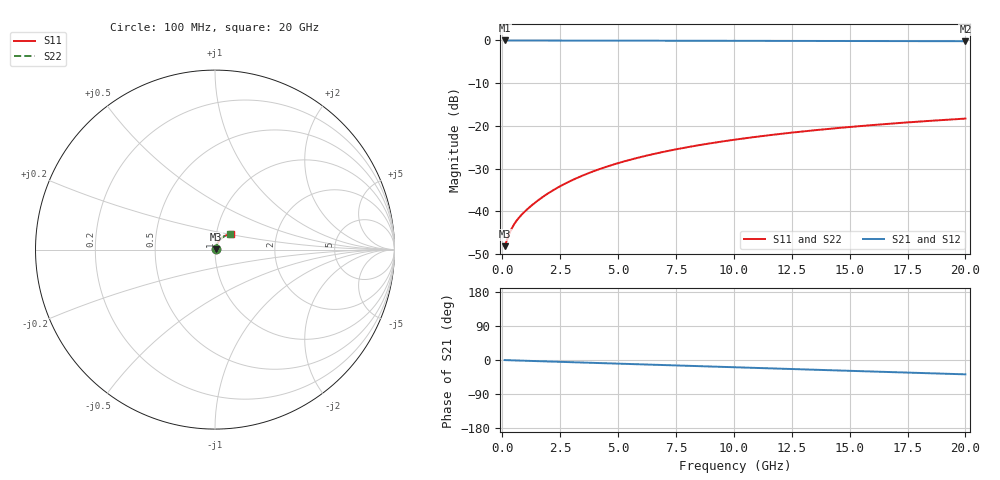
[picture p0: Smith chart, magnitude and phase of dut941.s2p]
! Touchstone file exported from HFSS 2026.1.0
!  File:  C:/ffzhzh/LocalFiles/Ansys_Project_Files/temp_train_BSMRDL_941_1783172096_55132.aedt
!  Generated:  09:36:07 PM Jul  4, 2026
!  Design:  BSMRDL
!  Project:  temp_train_BSMRDL_941_1783172096_55132
! Variables:
!  h_bsmrdl = 2.74um
!  h_ox = 20um
!  h_rdl = 5um
!  h_sub = 80um
!  h_tmrdl = 5um
!  h_tsv = 80um
!  h_via = 3um
!  l_bsmrdl = 652.6um
!  l_sub = 1052.6um
!  l_tmrdl = 200um
!  m_sub = 200um
!  pitch = 31.4um
!  r_tsv = 6um
!  s_tmrdl = 10um
!  w_bsmrdl = 24.7um
!  w_sub = 500um
!  w_tmrdl = 12um
!  x_tsv_center1 = 206um
!  x_tsv_center2 = 883.3um
!  x_tsv_center3 = 1095.3um
!  x_tsv_center4 = 1772.6um
!  x_tsv_center5 = 1984.6um
!  x_tsv_center6 = 2661.9um
# GHz S MA R 50.000000
! Terminal data exported
! Port[1] = BSM_RDL1_1_T1
! Port[2] = BSM_RDL1_1_T2
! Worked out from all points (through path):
!   200 points, 100 MHz to 20 GHz, reference 50 ohm
!   highest |S21| = -0.03 dB at 100 MHz (marker M1); lowest = -0.2 dB at 20 GHz (marker M2)
!   group delay of S21, straight-line fit = 5.25 ps
!   lowest |S11| = -48.1 dB at 100 MHz (marker M3), VSWR 1.01, Z = 50.4 + j0.123 ohm
!   |S11| at or under -10 dB: start of sweep to end of sweep
!   |S22| runs from -48.1 to -18.3 dB; largest |S21 - S12| = 2.1e-15
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0.1  0.003931 18.1  0.9963 -0.2  0.9963 -0.2  0.003931 18.1
! Gamma 0 0 0 0
! Port Impedance 50 0 50 0
0.3  0.005475 37.1  0.9957 -0.6  0.9957 -0.6  0.005474 37.1
0.4  0.006277 41.2  0.9953 -0.9  0.9953 -0.9  0.006276 41.2
0.5  0.007014 44.0  0.995 -1.0  0.995 -1.0  0.007013 44.0
0.6  0.007692 46.2  0.9948 -1.2  0.9948 -1.2  0.007691 46.2
0.8  0.008946 49.9  0.9944 -1.6  0.9944 -1.6  0.008944 50.0
1.1  0.01075 54.6  0.9941 -2.2  0.9941 -2.2  0.01075 54.6
1.6  0.01384 60.2  0.9937 -3.2  0.9937 -3.2  0.01383 60.3
1.9  0.01576 62.6  0.9936 -3.7  0.9936 -3.7  0.01576 62.6
2.2  0.01773 64.3  0.9934 -4.3  0.9934 -4.3  0.01772 64.4
2.8  0.02175 66.6  0.9931 -5.5  0.9931 -5.5  0.02174 66.6
3.5  0.02651 67.8  0.9927 -6.8  0.9927 -6.8  0.0265 67.9
4.2  0.03128 68.2  0.9922 -8.2  0.9922 -8.2  0.03127 68.3
5  0.03671 68.0  0.9916 -9.7  0.9916 -9.7  0.0367 68.1
5.9  0.04274 67.3  0.9908 -11.4  0.9908 -11.4  0.04273 67.4
6.8  0.04868 66.3  0.9899 -13.1  0.9899 -13.1  0.04866 66.4
8.3  0.05831 64.2  0.9884 -16.0  0.9884 -16.0  0.05828 64.4
10.1  0.06941 61.4  0.9865 -19.4  0.9865 -19.4  0.06937 61.6
11.7  0.07885 58.8  0.9848 -22.4  0.9848 -22.4  0.0788 59.0
13.4  0.08846 55.9  0.983 -25.6  0.983 -25.6  0.0884 56.1
16.7  0.1059 50.3  0.9795 -31.7  0.9795 -31.7  0.1058 50.6
20  0.1217 44.6  0.9762 -37.8  0.9762 -37.8  0.1216 45.0
